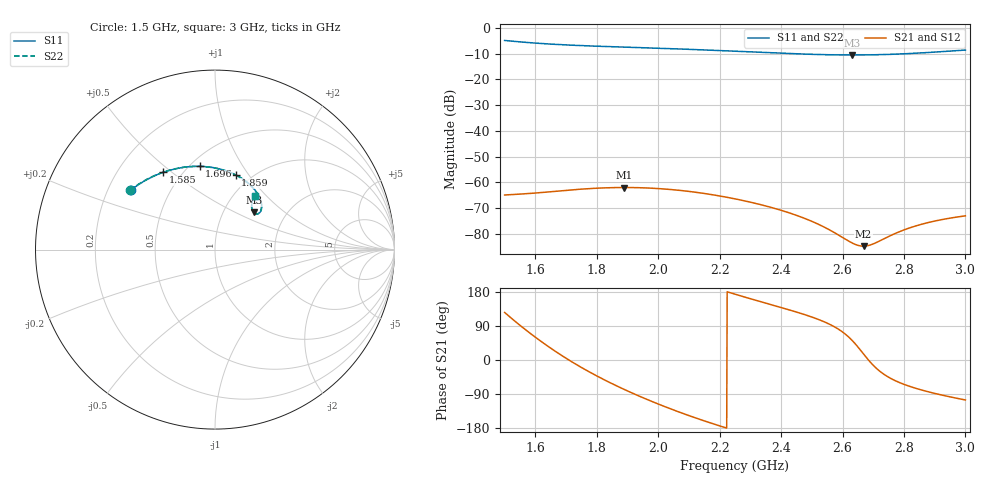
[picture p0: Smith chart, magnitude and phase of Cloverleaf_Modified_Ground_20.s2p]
! TOUCHSTONE file generated by CST MICROWAVE STUDIO
! Date and time: Tue Jan 14 09:39:21 2020
! Project name: Cloverleaf_Modified_Ground_20.cst
! Parameters = {A=0.0005; Dgp=0.033; Lgp=0.1; Lhorn=0.03; Lmax=0.015; Lmin=0.001; b=90.2683; dLhorn=1000}
! Header version: 2015
! Port assignment regex: !\s*Touchstone port\s*([0-9]+)\s*=\s*CST MWS port\s*([0-9]+)\s*\(\"(.*)\"\)(\s*mode\s*([0-9]+))?.*
! Touchstone port assignment:
! Touchstone port 1 = CST MWS port 1 ("")
! Touchstone port 2 = CST MWS port 2 ("")
# Hz S MA R 100
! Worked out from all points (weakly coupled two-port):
!   1003 points, 1.5 GHz to 3 GHz, reference 100 ohm
!   highest |S21| = -62.03 dB at 1.89 GHz (marker M1); lowest = -84.9 dB at 2.668 GHz (marker M2)
!   lowest |S11| = -10.5 dB at 2.632 GHz (marker M3), VSWR 1.86, Z = 139 + j63.1 ohm
!   |S11| at or under -10 dB: 2.448 GHz to 2.8 GHz (352.5 MHz wide, 13.4 % of centre)
!   |S22| runs from -10.5 to -4.8 dB; largest |S21 - S12| = 7.9e-07
!   S11 on the Smith chart (normalised r, x): 1.5 GHz: 0.29, +0.29; 1.585 GHz: 0.40, +0.47; 1.696 GHz: 0.56, +0.67; 1.859 GHz: 0.85, +0.87; 3 GHz: 1.24, +0.87
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1.5e9  0.5747 145.0  0.0005658 125.5  0.0005659 125.4  0.5773 145.0
1.5855e9  0.5182 123.9  0.0006084 69.0  0.0006085 69.0  0.5193 123.8
1.638e9  0.4931 112.2  0.0006453 37.9  0.0006458 37.9  0.4934 112.1
1.6965e9  0.4716 100.5  0.0006937 6.4  0.0006944 6.4  0.4713 100.4
1.7505e9  0.4562 90.8  0.0007364 -19.9  0.000737 -20.0  0.4553 90.7
1.8585e9  0.4324 74.6  0.0007885 -65.9  0.0007886 -65.9  0.4308 74.5
1.89e9  0.4263 70.6  0.0007916 -77.9  0.0007916 -77.9  0.4246 70.5
2.001e9  0.4056 58.7  0.0007541 -116.5  0.0007543 -116.5  0.4035 58.7
2.124e9  0.3814 49.2  0.0006373 -153.5  0.0006377 -153.5  0.3793 49.1
2.25e9  0.3549 42.8  0.0004763 173.7  0.0004766 173.7  0.353 42.8
2.388e9  0.3267 39.7  0.0002997 141.3  0.0002999 141.3  0.3251 39.8
2.448e9  0.3162 39.6  0.0002299 127.1  0.00023 127.1  0.3147 39.7
2.5005e9  0.3086 40.2  0.0001736 113.3  0.0001736 113.3  0.3073 40.3
2.5785e9  0.3013 42.0  0.0001009 85.4  0.000101 85.4  0.3001 42.0
2.6325e9  0.2997 43.7  6.543e-05 50.7  6.553e-05 50.7  0.2986 43.8
2.6685e9  0.3004 45.0  5.716e-05 15.8  5.727e-05 15.8  0.2993 45.0
2.751e9  0.3079 48.0  8.869e-05 -45.9  8.87e-05 -45.8  0.3069 48.1
2.772e9  0.3111 48.8  0.0001013 -54.7  0.0001012 -54.6  0.3101 48.8
2.829e9  0.3223 50.6  0.000136 -72.3  0.0001358 -72.3  0.3214 50.7
2.8875e9  0.3374 52.1  0.0001694 -85.6  0.0001691 -85.6  0.3364 52.1
2.943e9  0.3544 53.0  0.0001975 -96.1  0.0001972 -96.0  0.3534 53.0
3e9  0.374 53.4  0.0002223 -105.5  0.0002218 -105.4  0.373 53.4
